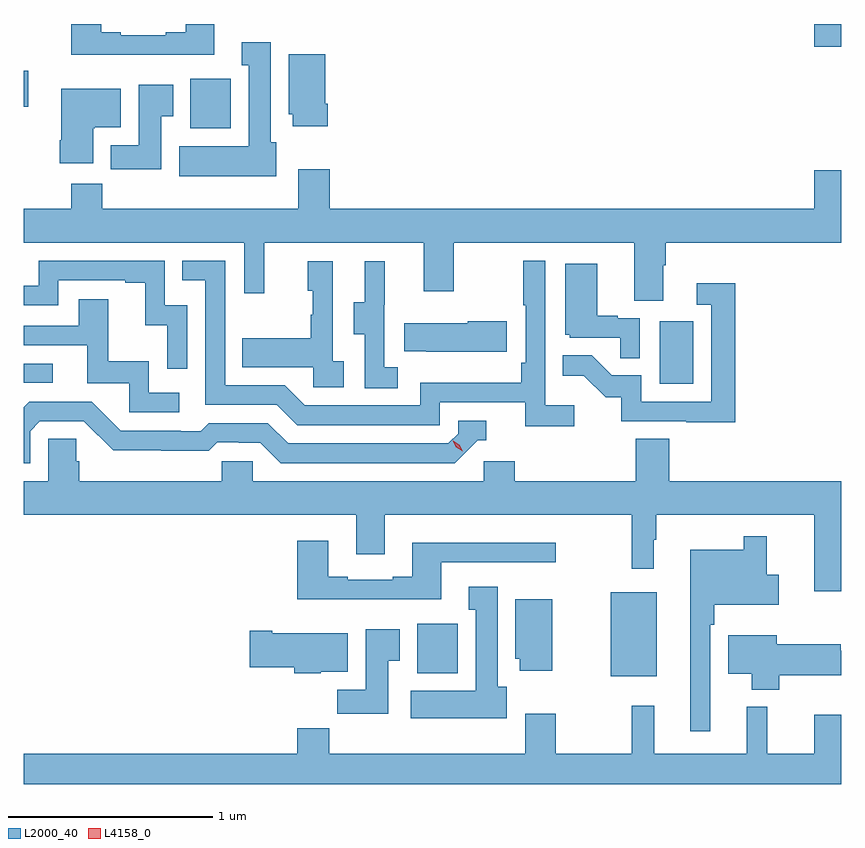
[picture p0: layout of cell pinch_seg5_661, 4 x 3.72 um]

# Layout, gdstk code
import gdstk
lib = gdstk.Library(unit=1e-6, precision=1e-09)
def R(c, l, rs):  # rectangles x0, y0, x1, y1
    for r in rs: c.add(gdstk.rectangle(r[:2], r[2:], *l))
def P(c, l, *ps):  # polygons
    for p in ps: c.add(gdstk.Polygon(p, *l))
L2000_40 = (2000, 40)
L4158_0 = (4158, 0)

pinch_seg5_661 = lib.new_cell('pinch_seg5_661')
R(pinch_seg5_661, L2000_40, [(1063.112,833.327,1063.339,833.737), (1062.167,833.342,1062.364,833.584), (1063.352,834.756,1063.516,835.063), (1061.057,836.006,1061.254,836.248), (1060.241,836.113,1060.264,836.288), (1064.108,836.406,1064.241,836.517)])
P(pinch_seg5_661, L2000_40, [(1061.173,836.517),(1061.033,836.517),(1061.033,836.476),(1060.937,836.476),(1060.937,836.463),(1060.717,836.463),(1060.717,836.476),(1060.621,836.476),(1060.621,836.517),(1060.474,836.517),(1060.474,836.366),(1061.173,836.366)],
  [(1061.476,835.938),(1061.449,835.938),(1061.449,836.428),(1061.309,836.428),(1061.309,836.315),(1061.342,836.315),(1061.342,835.918),(1061.003,835.918),(1061.003,835.772),(1061.476,835.772)],
  [(1061.729,836.128),(1061.716,836.128),(1061.716,836.368),(1061.537,836.368),(1061.537,836.076),(1061.558,836.076),(1061.558,836.016),(1061.729,836.016)],
  [(1060.915,836.065),(1060.972,836.065),(1060.972,836.221),(1060.805,836.221),(1060.805,835.924),(1060.667,835.924),(1060.667,835.806),(1060.915,835.806)],
  [(1060.582,836.006),(1060.588,836.006),(1060.588,836.012),(1060.717,836.012),(1060.717,836.2),(1060.424,836.2),(1060.424,835.948),(1060.417,835.948),(1060.417,835.836),(1060.582,835.836)],
  [(1063.369,835.336),(1063.382,835.336),(1063.382,835.448),(1064.241,835.448),(1064.241,835.801),(1064.108,835.801),(1064.108,835.612),(1061.738,835.612),(1061.738,835.807),(1061.585,835.807),(1061.585,835.612),(1060.625,835.612),(1060.625,835.736),(1060.474,835.736),(1060.474,835.612),(1060.241,835.612),(1060.241,835.448),(1061.319,835.448),(1061.319,835.2),(1061.417,835.2),(1061.417,835.448),(1062.197,835.448),(1062.197,835.209),(1062.345,835.209),(1062.345,835.448),(1063.229,835.448),(1063.229,835.162),(1063.369,835.162)],
  [(1062.934,834.652),(1062.792,834.652),(1062.792,835.36),(1062.684,835.36),(1062.684,835.141),(1062.696,835.141),(1062.696,834.859),(1062.676,834.859),(1062.676,834.763),(1062.18,834.763),(1062.18,834.651),(1061.616,834.651),(1061.517,834.75),(1061.226,834.75),(1061.226,835.359),(1061.017,835.359),(1061.017,835.263),(1061.13,835.263),(1061.13,834.654),(1061.48,834.654),(1061.579,834.555),(1062.276,834.555),(1062.276,834.666),(1062.695,834.666),(1062.695,834.55),(1062.934,834.55)],
  [(1061.04,835.14),(1060.932,835.14),(1060.932,835.359),(1060.314,835.359),(1060.314,835.236),(1060.241,835.236),(1060.241,835.14),(1060.41,835.14),(1060.41,835.263),(1060.739,835.263),(1060.739,835.251),(1060.835,835.251),(1060.835,835.043),(1060.944,835.043),(1060.944,834.831),(1061.04,834.831)],
  [(1062.07,834.839),(1062.006,834.839),(1062.006,835.143),(1062.008,835.143),(1062.008,835.357),(1061.909,835.357),(1061.909,835.155),(1061.855,835.155),(1061.855,835),(1061.91,835),(1061.91,834.736),(1062.07,834.736)],
  [(1061.806,834.866),(1061.754,834.866),(1061.754,835.357),(1061.63,835.357),(1061.63,835.212),(1061.656,835.212),(1061.656,835.094),(1061.646,835.094),(1061.646,834.979),(1061.311,834.979),(1061.311,834.839),(1061.658,834.839),(1061.658,834.741),(1061.806,834.741)],
  [(1063.254,835.077),(1063.148,835.077),(1063.148,835.09),(1063.048,835.09),(1063.048,835.345),(1062.89,835.345),(1062.89,834.996),(1062.912,834.996),(1062.912,834.981),(1063.159,834.981),(1063.159,834.883),(1063.254,834.883)],
  [(1063.721,835.249),(1063.533,835.249),(1063.533,835.143),(1063.605,835.143),(1063.605,834.669),(1063.263,834.669),(1063.263,834.798),(1063.119,834.798),(1063.021,834.896),(1062.877,834.896),(1062.877,834.797),(1062.981,834.797),(1063.088,834.69),(1063.165,834.69),(1063.165,834.573),(1063.483,834.573),(1063.483,834.568),(1063.721,834.568)],
  [(1061.002,834.714),(1060.854,834.714),(1060.854,834.868),(1060.655,834.868),(1060.655,835.171),(1060.511,835.171),(1060.511,835.041),(1060.241,835.041),(1060.241,834.945),(1060.553,834.945),(1060.553,834.759),(1060.758,834.759),(1060.758,834.618),(1061.002,834.618)],
  [(1062.604,835.062),(1062.413,835.062),(1062.413,835.054),(1062.103,835.054),(1062.103,834.917),(1062.211,834.917),(1062.211,834.914),(1062.604,834.914)],
  [(1060.242,834.762),(1060.384,834.762),(1060.384,834.855),(1060.241,834.855),(1060.241,834.761)],
  [(1060.272,834.525),(1060.32,834.573),(1060.536,834.573),(1060.678,834.431),(1060.914,834.431),(1060.914,834.429),(1061.147,834.429),(1061.189,834.471),(1061.292,834.471),(1061.292,834.468),(1061.399,834.468),(1061.498,834.369),(1062.351,834.369),(1062.462,834.48),(1062.505,834.48),(1062.505,834.576),(1062.366,834.576),(1062.366,834.513),(1062.318,834.465),(1061.535,834.465),(1061.436,834.564),(1061.147,834.564),(1061.108,834.525),(1061.009,834.525),(1061.009,834.528),(1060.716,834.528),(1060.575,834.669),(1060.269,834.669),(1060.241,834.641),(1060.241,834.369),(1060.272,834.369)],
  [(1064.241,834.28),(1063.4,834.28),(1063.4,834.488),(1063.235,834.488),(1063.235,834.28),(1062.644,834.28),(1062.644,834.378),(1062.492,834.378),(1062.492,834.28),(1061.361,834.28),(1061.361,834.378),(1061.211,834.378),(1061.211,834.28),(1060.514,834.28),(1060.514,834.378),(1060.499,834.378),(1060.499,834.488),(1060.362,834.488),(1060.362,834.28),(1060.241,834.28),(1060.241,834.116),(1061.867,834.116),(1061.867,833.922),(1062.007,833.922),(1062.007,834.116),(1063.215,834.116),(1063.215,833.853),(1063.324,833.853),(1063.324,833.993),(1063.336,833.993),(1063.336,834.116),(1064.108,834.116),(1064.108,833.742),(1064.241,833.742)],
  [(1063.599,833.579),(1063.619,833.579),(1063.619,833.675),(1063.936,833.675),(1063.936,833.823),(1063.875,833.823),(1063.875,834.01),(1063.764,834.01),(1063.764,833.944),(1063.502,833.944),(1063.502,833.058),(1063.599,833.058)],
  [(1062.283,833.883),(1062.844,833.883),(1062.844,833.98),(1062.143,833.98),(1062.143,833.812),(1062.047,833.812),(1062.047,833.799),(1061.827,833.799),(1061.827,833.812),(1061.731,833.812),(1061.731,833.989),(1061.579,833.989),(1061.579,833.702),(1062.283,833.702)],
  [(1062.604,833.274),(1062.559,833.274),(1062.559,833.764),(1062.419,833.764),(1062.419,833.651),(1062.452,833.651),(1062.452,833.254),(1062.135,833.254),(1062.135,833.12),(1062.604,833.12)],
  [(1062.826,833.704),(1062.647,833.704),(1062.647,833.412),(1062.668,833.412),(1062.668,833.352),(1062.826,833.352)],
  [(1062.025,833.401),(1062.082,833.401),(1062.082,833.557),(1061.915,833.557),(1061.915,833.26),(1061.776,833.26),(1061.776,833.142),(1062.025,833.142)],
  [(1061.694,833.348),(1061.827,833.348),(1061.827,833.536),(1061.458,833.536),(1061.458,833.549),(1061.346,833.549),(1061.346,833.371),(1061.564,833.371),(1061.564,833.342),(1061.694,833.342)],
  [(1063.937,833.33),(1064.241,833.33),(1064.241,833.452),(1064.239,833.452),(1064.239,833.482),(1063.924,833.482),(1063.924,833.527),(1063.688,833.527),(1063.688,833.339),(1063.802,833.339),(1063.802,833.261),(1063.937,833.261)],
  [(1064.241,833.137),(1064.108,833.137),(1064.108,832.948),(1063.878,832.948),(1063.878,833.176),(1063.778,833.176),(1063.778,832.948),(1063.325,832.948),(1063.325,833.182),(1063.215,833.182),(1063.215,832.948),(1062.843,832.948),(1062.843,833.143),(1062.695,833.143),(1062.695,832.948),(1061.735,832.948),(1061.735,833.072),(1061.579,833.072),(1061.579,832.948),(1060.241,832.948),(1060.241,832.799),(1064.241,832.799)])
P(pinch_seg5_661, L4158_0, [(1062.388,834.426),(1062.357,834.446),(1062.341,834.479),(1062.341,834.479),(1062.342,834.479),(1062.372,834.459),(1062.388,834.426),(1062.388,834.426)])

lib.write_gds('pinch_seg5_661.gds')
